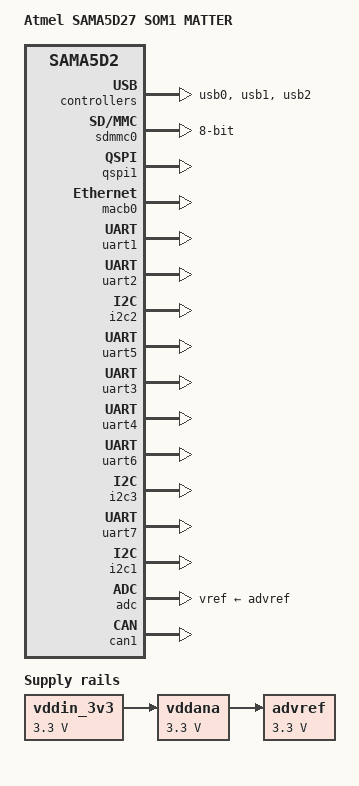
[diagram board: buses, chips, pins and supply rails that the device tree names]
// SPDX-License-Identifier: (GPL-2.0+ OR MIT)
/*
 * at91-sama5d27_som1_ek.dts - Device Tree file for SAMA5D27-SOM1-EK board
 *
 *  Copyright (c) 2017, Microchip Technology Inc.
 *                2016 Nicolas Ferre <nicolas.ferre@atmel.com>
 *                2017 Cristian Birsan <cristian.birsan@microchip.com>
 *                2017 Claudiu Beznea <claudiu.beznea@microchip.com>
 */
/dts-v1/;
#include "at91-sama5d27_som1.dtsi"
#include <dt-bindings/mfd/atmel-flexcom.h>
#include <dt-bindings/gpio/gpio.h>

/ {
	model = "Atmel SAMA5D27 SOM1 MATTER";
	compatible = "atmel,sama5d27-som1-matter", "atmel,sama5d27-som1", "atmel,sama5d27", "atmel,sama5d2", "atmel,sama5";

	aliases {
		serial0 = &uart1;	/* gsm/dbug */
		serial1 = &uart2;	/* xdot */
		serial2 = &uart3;	/* gps */
		serial3 = &uart4;	/* mdot */
		serial4 = &uart5;	/* rs485 */
		serial5 = &uart6;	/* ble */
		serial6 = &uart7;	/* rs252 */
		i2c3	= &i2c3; 	/* env */
		i2c1    = &i2c1; 	/* adc */
		i2c2	= &i2c2;	/* MPPT */
	};

	chosen {
		stdout-path = "serial0:115200n8";
	};

	ahb {
		usb0: gadget@300000 {
			atmel,vbus-gpio = <&pioA PIN_PD20 GPIO_ACTIVE_HIGH>;
			pinctrl-names = "default";
			pinctrl-0 = <&pinctrl_usba_vbus>;
			status = "okay";
		};

		usb1: ohci@400000 {
			num-ports = <3>;
			atmel,vbus-gpio = <0 /* &pioA PIN_PD20 GPIO_ACTIVE_HIGH */
					   &pioA PIN_PA27 GPIO_ACTIVE_HIGH
					   0
					  >;
			pinctrl-names = "default";
			pinctrl-0 = <&pinctrl_usb_default>;
			status = "okay";
		};

		usb2: ehci@500000 {
			status = "okay";
		};

		sdmmc0: sdio-host@a0000000 {
			bus-width = <8>;
			pinctrl-names = "default";
			pinctrl-0 = <&pinctrl_sdmmc0_default>;
			status = "okay";
		};


		apb {
			pmc: pmc@f0014000 {
				pmc_fast_restart {
					compatible = "atmel,sama5d2-pmc-fast-startup";
					#address-cells = <1>;
					#size-cells = <0>;

					atmel,wakeup-rtc-timer;

					wkpin: input@0 {
						reg = <0>;
					};

					gmac_wol: input@10 {
						reg = <10>;
						atmel,wakeup-active-high;
					};
				};
			};

			isc: isc@f0008000 {
				pinctrl-names = "default";
				pinctrl-0 = <&pinctrl_isc_base &pinctrl_isc_data_8bit &pinctrl_isc_data_9_10 &pinctrl_isc_data_11_12>;
				status = "disabled";
			};

			qspi1: spi@f0024000 {
				status = "okay";
			};

			spi0: spi@f8000000 {
				pinctrl-names = "default";
				pinctrl-0 = <&pinctrl_spi0_wifi_disp>;
				status = "disabled";
			};

			macb0: ethernet@f8008000 {
				status = "okay";
			};

			tcb0: timer@f800c000 {
				timer0: timer@0 {
					compatible = "atmel,tcb-timer";
					reg = <0>;
				};

				timer1: timer@1 {
					compatible = "atmel,tcb-timer";
					reg = <1>;
				};
			};

			uart1: serial@f8020000 {
				pinctrl-names = "default";
				pinctrl-0 = <&pinctrl_uart_gsm>;
				atmel,use-dma-rx;
				atmel,use-dma-tx;
				status = "okay";
			};

			uart2: serial@f8024000 {
				pinctrl-names = "default";
				pinctrl-0 = <&pinctrl_uart_xdot>;
				atmel,use-dma-rx;
				atmel,use-dma-tx;
				status = "okay";
			};

			//MPPT/POWER I2C FLEXCOM0
			flx0: flexcom@f8034000 {
				atmel,flexcom-mode = <ATMEL_FLEXCOM_MODE_TWI>;
				status = "okay";

				i2c2: i2c@600 
				{
					compatible = "atmel,sama5d2-i2c";
					reg = <0x600 0x200>;
					interrupts = <19 IRQ_TYPE_LEVEL_HIGH 7>;
					dmas = <0>, <0>;
					dma-names = "tx", "rx";
					#address-cells = <1>;
					#size-cells = <0>;
					clocks = <&flx0_clk>;
					pinctrl-names = "default";
					pinctrl-0 = <&pinctrl_flx0_i2c_mppt>;
					atmel,fifo-size = <16>;
					status = "okay";
				};
			};

			flx1: flexcom@f8038000 {
				atmel,flexcom-mode = <ATMEL_FLEXCOM_MODE_USART>;
				status = "okay";

				uart5: serial@200 {
					compatible = "atmel,at91sam9260-usart";
					reg = <0x200 0x200>;
					interrupts = <20 IRQ_TYPE_LEVEL_HIGH 7>;
					clocks = <&flx1_clk>;
					clock-names = "usart";
					pinctrl-names = "default";
					pinctrl-0 = <&pinctrl_flx1_uart_rs485>;
					atmel,fifo-size = <32>;
					status = "okay"; //Dedicated to RS485, No conflicts
				};
			};

			shdwc@f8048010 {
				atmel,shdwc-debouncer = <976>;
				atmel,wakeup-rtc-timer;

				input@0 {
					reg = <0>;
					atmel,wakeup-type = "low";
				};
			};

			watchdog@f8048040 {
				status = "okay";
			};

			uart3: serial@fc008000 {
				atmel,use-dma-rx;
				atmel,use-dma-tx;
				pinctrl-names = "default";
				pinctrl-0 = <&pinctrl_uart_gps>;
				status = "okay"; /* Conflict with isc. */
			};

			uart4: serial@fc00c000 {
				atmel,use-dma-rx;
				atmel,use-dma-tx;
				pinctrl-names = "default";
				pinctrl-0 = <&pinctrl_uart_mdot>;
				status = "okay";
			};
			//BLE UART FLEXCOM2			
			flx2: flexcom@fc010000 { 
				atmel,flexcom-mode = <ATMEL_FLEXCOM_MODE_USART>;
				status = "okay";

				uart6: serial@200 
				{
					compatible = "atmel,at91sam9260-usart";
					reg = <0x200 0x200>;
					interrupts = <21 IRQ_TYPE_LEVEL_HIGH 7>;
					clocks = <&flx2_clk>;
					clock-names = "usart";
					pinctrl-names = "default";
					pinctrl-0 = <&pinctrl_flx2_uart_ble>;
					atmel,fifo-size = <32>;
					status = "okay"; //Dedicated to BLE, No conflicts
				};
			};

			flx3: flexcom@fc014000 {
				atmel,flexcom-mode = <ATMEL_FLEXCOM_MODE_TWI>;
				status = "okay";

				i2c3: i2c@600 
				{
					compatible = "atmel,sama5d2-i2c";
					reg = <0x600 0x200>;
					interrupts = <22 IRQ_TYPE_LEVEL_HIGH 7>;
					dmas = <0>, <0>;
					dma-names = "tx", "rx";
					#address-cells = <1>;
					#size-cells = <0>;
					clocks = <&flx3_clk>;
					pinctrl-names = "default";
					pinctrl-0 = <&pinctrl_env_i2c>;
					atmel,fifo-size = <16>;
					status = "okay";
				};
			};

			//RS232 FLEXCOM4 UART			
			flx4: flexcom@fc018000 {
				atmel,flexcom-mode = <ATMEL_FLEXCOM_MODE_USART>;
				status = "okay";

				uart7: serial@200 
				{
					compatible = "atmel,at91sam9260-usart";
					reg = <0x200 0x200>;
					interrupts = <23 IRQ_TYPE_LEVEL_HIGH 7>;
					clocks = <&flx4_clk>;
					clock-names = "usart";
					pinctrl-names = "default";
					pinctrl-0 = <&pinctrl_flx4_uart_rs232>;
					atmel,fifo-size = <32>;
					status = "okay"; //Dedicated to RS232, No Conflicts
				};
			};

			i2c1: i2c@fc028000 {
				dmas = <0>, <0>;
				pinctrl-names = "default";
				pinctrl-0 = <&pinctrl_adc_i2c1>;
				status = "okay";
			};

			adc: adc@fc030000 {
				vddana-supply = <&vddana>;
				vref-supply = <&advref>;
				status = "okay";
			};

			pinctrl@fc038000 {
				pinctrl_usba_vbus: usba_vbus 
				{
					pinmux = <PIN_PD20__GPIO>;
					bias-disable;
				};				
				//SD Card rootfs		
				pinctrl_sdmmc0_rootfs: sdmmc0_default 
				{
						cmd_data 
						{
							pinmux = <PIN_PA1__SDMMC0_CMD>,
									 <PIN_PA2__SDMMC0_DAT0>,
									 <PIN_PA3__SDMMC0_DAT1>,
									 <PIN_PA4__SDMMC0_DAT2>,
									 <PIN_PA5__SDMMC0_DAT3>;
							bias-disable;
						};
						ck_cd_wp 
						{
							pinmux = <PIN_PA0__SDMMC0_CK>,
								   //<PIN_PA11__SDMMC0_VDDSEL>, //Removed
									 <PIN_PA12__SDMMC0_WP>, //Added
									 <PIN_PA13__SDMMC0_CD>;
							bias-disable;
						};
					};
				//MPPT/POWER I2C					
				pinctrl_flx0_i2c_mppt: flx0_i2c_mppt_default 
				{
					pinmux = <PIN_PB28__FLEXCOM0_IO0>,
						 <PIN_PB29__FLEXCOM0_IO1>;
					bias-disable;
				};
				//MPPT/POWER CONTROL
				pinctrl_smbalert_mppt: smbalert_mppt 
				{
					pinmux = <PIN_PA31__GPIO>;
					bias-disable;
				};
				pinctrl_en_5v3_buck: en_5v3_buck 
				{
					pinmux = <PIN_PA30__GPIO>;
					bias-disable;
				};				
				//BLE UART
				pinctrl_flx2_uart_ble: flx2_uart_default 
				{
					pinmux = <PIN_PA6__FLEXCOM2_IO0>,
						 <PIN_PA7__FLEXCOM2_IO1>,
						 <PIN_PA9__FLEXCOM2_IO3>,
						 <PIN_PA10__FLEXCOM2_IO4>;
					bias-disable;
				};
				//WIFI/DISPLAY SPI				
				pinctrl_spi0_wifi_disp: spi0_default 
				{
					pinmux = <PIN_PA14__SPI0_SPCK>,
						 <PIN_PA15__SPI0_MOSI>,
						 <PIN_PA16__SPI0_MISO>,
						 <PIN_PA17__SPI0_NPCS0>, //Wifi CS
						 <PIN_PA18__SPI0_NPCS1>; //Disp CS
					bias-disable;
				};
				//WIFI CONTROL
				pinctrl_en_3v3_wifi: en_3v3_wifi 
				{
					pinmux = <PIN_PA28__GPIO>;
					bias-disable;
				};
						
				pinctrl_wifi_rst: wifi_rst 
				{
					pinmux = <PIN_PD1__GPIO>;
					bias-disable;
				};
						
				pinctrl_wifi_chip_en: wifi_chip_en 
				{
					pinmux = <PIN_PD25__GPIO>;
					bias-disable;
				};
				//DISPLAY CONTROL						
				pinctrl_disp_rst: disp_rst 
				{
					pinmux = <PIN_PA26__GPIO>;
					bias-disable;
				};
						
				pinctrl_en_5v_ldo_disp: en_5v_ldo_disp 
				{
					pinmux = <PIN_PC15__GPIO>;
					bias-disable;
				};
				//DIGITAL INPUTS AND CONTROL
				pinctrl_dig_in_1: dig_in_1 
				{
					pinmux = <PIN_PA20__GPIO>;
					bias-disable;
				};
						
				pinctrl_dig_in_2: dig_in_2 
				{
					pinmux = <PIN_PA21__GPIO>;
					bias-disable;
				};
				
				pinctrl_en_3v3_ldo_dig: en_3v3_ldo_dig 
				{
					pinmux = <PIN_PA22__GPIO>;
					bias-disable;
				};

				//RS485 UART
				pinctrl_flx1_uart_rs485: flx1_uart_default 
				{
					pinmux = <PIN_PA23__FLEXCOM1_IO1>,
						 <PIN_PA24__FLEXCOM1_IO0>,
						 <PIN_PA25__FLEXCOM1_IO3>,
						 <PIN_PA26__FLEXCOM1_IO4>;
					bias-disable;
				};
				//RS232 UART				
				pinctrl_flx4_uart_rs232: flx4_uart_default 
				{
					pinmux = <PIN_PC28__FLEXCOM4_IO0>,
						 <PIN_PC29__FLEXCOM4_IO1>,
						 <PIN_PC31__FLEXCOM4_IO3>,
						 <PIN_PD0__FLEXCOM4_IO4>;
					bias-disable;
				};
				//CAN BUS INDUSTRIAL						
				pinctrl_can1_industrial: can1_default 
				{
					pinmux = <PIN_PC26__CANTX1>,
						 <PIN_PC27__CANRX1>;
					bias-disable;
				};
				//INDUSTRIAL COMMS POWER CONTROL					
				pinctrl_en_3v3_ldo_ind: en_3v3_ldo_ind 
				{
					pinmux = <PIN_PA11__GPIO>;
					bias-disable;
				};
				
				pinctrl_en_5v_fly_ind: en_5v_fly_ind 
				{
					pinmux = <PIN_PA19__GPIO>;
					bias-disable;
				};
				
				pinctrl_en_12v_fly_ind: en_12v_fly_ind 
				{
					pinmux = <PIN_PA27__GPIO>;
					bias-disable;
				};
				//MDOT UART
				pinctrl_uart_mdot: uart_mdot 
				{
					pinmux = <PIN_PB3__URXD4>,
						 <PIN_PB4__UTXD4>;
					bias-disable;
				};
				//MDOT CONTROL
				pinctrl_nreset_mdot: reset_mdot 
				{
					pinmux = <PIN_PB1__GPIO>;
					bias-disable;
				};
				
				pinctrl_en_3v3_ldo_mdot: en_3v3_ldo_mdot 
				{
					pinmux = <PIN_PB2__GPIO>;
					bias-disable;
				};
				//XDOT UART
				pinctrl_uart_xdot: uart_xdot 
				{
					pinmux = <PIN_PD23__URXD2>,
						 <PIN_PD24__UTXD2>;
					bias-disable;
				};
				//XDOT CONTROL
				pinctrl_nreset_xdot: reset_xdot 
				{
					pinmux = <PIN_PC19__GPIO>;
					bias-disable;
				};
				
				pinctrl_en_3v3_ldo_xdot: en_3v3_ldo_xdot 
				{
					pinmux = <PIN_PC30__GPIO>;
					bias-disable;
				};
				//GPS UART
				pinctrl_uart_gps: uart_gps 
				{
					pinmux = <PIN_PC12__URXD3>,
						 <PIN_PC13__UTXD3>;
					bias-disable;
				};
				//GPS CONTROL
				pinctrl_force_on_gps: force_on_gps 
				{
					pinmux = <PIN_PC9__GPIO>;
					bias-disable;
				};
				
				pinctrl_en_3v3_ldo_gps: en_3v3_ldo_gps 
				{
					pinmux = <PIN_PC17__GPIO>;
					bias-disable;
				};
				//GSM UART
				pinctrl_uart_gsm: uart_gsm 
				{
					pinmux = <PIN_PD2__URXD1>,
						 <PIN_PD3__UTXD1>;
					bias-disable;
				};
				//GSM CONTROL
				pinctrl_dtr_gsm: force_dtr_gsm 
				{
					pinmux = <PIN_PD22__GPIO>;
					bias-disable;
				};
				
				pinctrl_en_3v3_ldo_gsm: en_3v3_ldo_gsm 
				{
					pinmux = <PIN_PC21__GPIO>;
					bias-disable;
				};
				//ENVIRONMENTALS I2C				
				pinctrl_env_i2c: env_i2c 
				{
					pinmux = <PIN_PB23__FLEXCOM3_IO0>,
						 <PIN_PB22__FLEXCOM3_IO1>;
					bias-disable;
				};
				//ENVIRONMENTALS CONTROL				
				pinctrl_en_ldo_env: en_ldo_env 
				{
					pinmux = <PIN_PC20__GPIO>;
					bias-disable;
				};	

				pinctrl_int_opt: int_opt 
				{
					pinmux = <PIN_PA8__GPIO>;
					bias-disable;
				};

				pinctrl_int_bno: int_bno 
				{
					pinmux = <PIN_PC10__GPIO>;
					bias-disable;
				};	

				pinctrl_int_as: int_as 
				{
					pinmux = <PIN_PC22__GPIO>;
					bias-disable;
				};					
				//ADC I2C1				
				pinctrl_adc_i2c1: adc_i2c1 
				{
					pinmux = <PIN_PD4__TWD1>,
						 <PIN_PD5__TWCK1>;
					bias-disable;
				};
				//ADC CONTROL
				pinctrl_reset_adc: reset_adc 
				{
					pinmux = <PIN_PD6__GPIO>;
					bias-disable;
				};	

				pinctrl_int_adc: int_adc 
				{
					pinmux = <PIN_PD7__GPIO>;
					bias-disable;
				};

				pinctrl_en_5v_ldo_ana: en_5v_ldo_ana 
				{
					pinmux = <PIN_PD8__GPIO>;
					bias-disable;
				};	

				pinctrl_en_12v_ldo_ana: en_12v_ldo_ana 
				{
					pinmux = <PIN_PD21__GPIO>;
					bias-disable;
				};

				pinctrl_en_3v3_ldo_ana: en_3v3_ldo_ana 
				{
					pinmux = <PIN_PD26__GPIO>;
					bias-disable;
				};
				//BUS I2S		
				pinctrl_i2s_bus: i2s_bus 
				{
					pinmux = <PIN_PB14__I2SC1_MCK>,
						 <PIN_PB15__I2SC1_CK>,
						 <PIN_PB16__I2SC1_WS>,
						 <PIN_PB17__I2SC1_DI0>,
						 <PIN_PB18__I2SC1_DO0>;
					bias-disable;
				};	
				//BUS CAN BUS
				pinctrl_can0_bus: can0_default 
				{
					pinmux = <PIN_PC1__CANTX0>,
						 <PIN_PC2__CANRX0>;
					bias-disable;
				};				
				//BUS CONTROL
				//CHANNEL 1
				pinctrl_bus_dig1: bus_dig1 
				{
					pinmux = <PIN_PB5__GPIO>;
					bias-disable;
				};		
				pinctrl_bus_dtr1: bus_dtr1 
				{
					pinmux = <PIN_PB7__GPIO>;
					bias-disable;
				};
				pinctrl_bus_ldo1: bus_ldo1 
				{
					pinmux = <PIN_PB9__GPIO>;
					bias-disable;
				};
				//CHANNEL 2
				pinctrl_bus_dig2: bus_dig2 
				{
					pinmux = <PIN_PC5__GPIO>;
					bias-disable;
				};		
				pinctrl_bus_dtr2: bus_dtr2 
				{
					pinmux = <PIN_PC4__GPIO>;
					bias-disable;
				};
				pinctrl_bus_ldo2: bus_ldo2 
				{
					pinmux = <PIN_PB10__GPIO>;
					bias-disable;
				};
				//CHANNEL 3
				pinctrl_bus_dig3: bus_dig3 
				{
					pinmux = <PIN_PC6__GPIO>;
					bias-disable;
				};		
				pinctrl_bus_dtr3: bus_dtr3 
				{
					pinmux = <PIN_PC7__GPIO>;
					bias-disable;
				};
				pinctrl_bus_ldo3: bus_ldo3 
				{
					pinmux = <PIN_PC8__GPIO>;
					bias-disable;
				};
				//CHANNEL 4
				pinctrl_bus_dig4: bus_dig4 
				{
					pinmux = <PIN_PC0__GPIO>;
					bias-disable;
				};		
				pinctrl_bus_dtr4: bus_dtr4 
				{
					pinmux = <PIN_PB31__GPIO>;
					bias-disable;
				};
				pinctrl_bus_ldo4: bus_ldo4 
				{
					pinmux = <PIN_PC3__GPIO>;
					bias-disable;
				};
				//CHANNEL 5
				pinctrl_bus_dig5: bus_dig5 
				{
					pinmux = <PIN_PB13__GPIO>;
					bias-disable;
				};		
				pinctrl_bus_dtr5: bus_dtr5 
				{
					pinmux = <PIN_PB12__GPIO>;
					bias-disable;
				};
				pinctrl_bus_ldo5: bus_ldo5 
				{
					pinmux = <PIN_PB11__GPIO>;
					bias-disable;
				};
				//CHANNEL 6
				pinctrl_bus_dig6: bus_dig6 
				{
					pinmux = <PIN_PB25__GPIO>;
					bias-disable;
				};		
				pinctrl_bus_dtr6: bus_dtr6 
				{
					pinmux = <PIN_PB19__GPIO>;
					bias-disable;
				};
				pinctrl_bus_ldo6: bus_ldo6 
				{
					pinmux = <PIN_PB20__GPIO>;
					bias-disable;
				};
				//CHANNEL 7
				pinctrl_bus_dig7: bus_dig7 
				{
					pinmux = <PIN_PB30__GPIO>;
					bias-disable;
				};		
				pinctrl_bus_dtr7: bus_dtr7 
				{
					pinmux = <PIN_PB21__GPIO>;
					bias-disable;
				};
				pinctrl_bus_ldo7: bus_ldo7 
				{
					pinmux = <PIN_PB27__GPIO>;
					bias-disable;
				};
				//BUS PERIPHERAL CONTROL
				pinctrl_per_en1: per_en1 
				{
					pinmux = <PIN_PC18__GPIO>;
					bias-disable;
				};
				pinctrl_per_en2: per_en2 
				{
					pinmux = <PIN_PC25__GPIO>;
					bias-disable;
				};
				pinctrl_per_en3: per_en3 
				{
					pinmux = <PIN_PC16__GPIO>;
					bias-disable;
				};
				pinctrl_per_en4: per_en4 
				{
					pinmux = <PIN_PC11__GPIO>;
					bias-disable;
				};
				//LEDs
				pinctrl_led_r: led_r 
				{
					pinmux = <PIN_PB24__GPIO>;
					bias-disable;
				};
				pinctrl_led_bu: led_bu 
				{
					pinmux = <PIN_PB26__GPIO>;
					bias-disable;
				};
				pinctrl_led_g: led_g 
				{
					pinmux = <PIN_PC23__GPIO>;
					bias-disable;
				};
				//EXTERNAL WATCHDOG TIMERS
				pinctrl_watchdog_mpu: watchdog_mpu 
				{
					pinmux = <PIN_PD19__GPIO>;
					bias-disable;
				};
				pinctrl_watchdog_ldo: watchdog_ldo 
				{
					pinmux = <PIN_PC24__GPIO>;
					bias-disable;
				};

				pinctrl_isc_base: isc_base {
					pinmux = <PIN_PC21__ISC_PCK>,
						 <PIN_PC22__ISC_VSYNC>,
						 <PIN_PC23__ISC_HSYNC>,
						 <PIN_PC24__ISC_MCK>;
					bias-disable;
				};

				pinctrl_isc_data_8bit: isc_data_8bit {
					pinmux = <PIN_PC20__ISC_D11>,
						 <PIN_PC19__ISC_D10>,
						 <PIN_PC18__ISC_D9>,
						 <PIN_PC17__ISC_D8>,
						 <PIN_PC16__ISC_D7>,
						 <PIN_PC15__ISC_D6>,
						 <PIN_PC14__ISC_D5>,
						 <PIN_PC13__ISC_D4>;
					bias-disable;
				};

				pinctrl_isc_data_9_10: isc_data_9_10 {
					pinmux = <PIN_PC12__ISC_D3>,
						 <PIN_PC11__ISC_D2>;
					bias-disable;
				};

				pinctrl_isc_data_11_12: isc_data_11_12 {
					pinmux = <PIN_PC10__ISC_D1>,
						 <PIN_PC9__ISC_D0>;
					bias-disable;
				};

				pinctrl_sdmmc0_default: sdmmc0_default {
					cmd_data {
						pinmux = <PIN_PA1__SDMMC0_CMD>,
							 <PIN_PA2__SDMMC0_DAT0>,
							 <PIN_PA3__SDMMC0_DAT1>,
							 <PIN_PA4__SDMMC0_DAT2>,
							 <PIN_PA5__SDMMC0_DAT3>;
						bias-disable;
					};
					ck_cd_wp {
						pinmux = <PIN_PA0__SDMMC0_CK>,
							 <PIN_PA12__SDMMC0_WP>, //Added
							 <PIN_PA13__SDMMC0_CD>;
						bias-disable;
					};
				};

				pinctrl_usb_default: usb_default {
					pinmux = <PIN_PA27__GPIO>,
						 <PIN_PD19__GPIO>;
					bias-disable;
				};

				pinctrl_usba_vbus: usba_vbus {
					pinmux = <PIN_PD20__GPIO>;
					bias-disable;
				};
			};

			can1: can@fc050000 {
				pinctrl-names = "default";
				pinctrl-0 = <&pinctrl_can1_industrial>;
				status = "okay";
			};
		};
	};

	/*gpio_keys {
		compatible = "gpio-keys";

		pinctrl-names = "default";
		pinctrl-0 = <&pinctrl_key_gpio_default>;

		pb4 {
			label = "USER";
			gpios = <&pioA PIN_PA29 GPIO_ACTIVE_LOW>;
			linux,code = <0x104>;
			wakeup-source;
		};
	};*/

	/*leds {
		compatible = "gpio-leds";
		pinctrl-names = "default";
		pinctrl-0 = <&pinctrl_led_gpio_default>;
		status = "okay"; 

		red {
			label = "red";
			gpios = <&pioA PIN_PA10 GPIO_ACTIVE_HIGH>;
		};

		green {
			label = "green";
			gpios = <&pioA PIN_PB1 GPIO_ACTIVE_HIGH>;
		};

		blue {
			label = "blue";
			gpios = <&pioA PIN_PA31 GPIO_ACTIVE_HIGH>;
			linux,default-trigger = "heartbeat";
		};
	};*/

	vddin_3v3: fixed-regulator-vddin_3v3 {
		compatible = "regulator-fixed";

		regulator-name = "VDDIN_3V3";
		regulator-min-microvolt = <3300000>;
		regulator-max-microvolt = <3300000>;
		regulator-always-on;
		regulator-boot-on;
		status = "okay";
	};

	vddana: fixed-regulator-vddana {
		compatible = "regulator-fixed";

		regulator-name = "VDDANA";
		regulator-min-microvolt = <3300000>;
		regulator-max-microvolt = <3300000>;
		regulator-always-on;
		regulator-boot-on;
		vin-supply = <&vddin_3v3>;
		status = "okay";
	};

	advref: fixed-regulator-advref {
		compatible = "regulator-fixed";

		regulator-name = "advref";
		regulator-min-microvolt = <3300000>;
		regulator-max-microvolt = <3300000>;
		regulator-always-on;
		regulator-boot-on;
		vin-supply = <&vddana>;
		status = "okay";
	};
};
